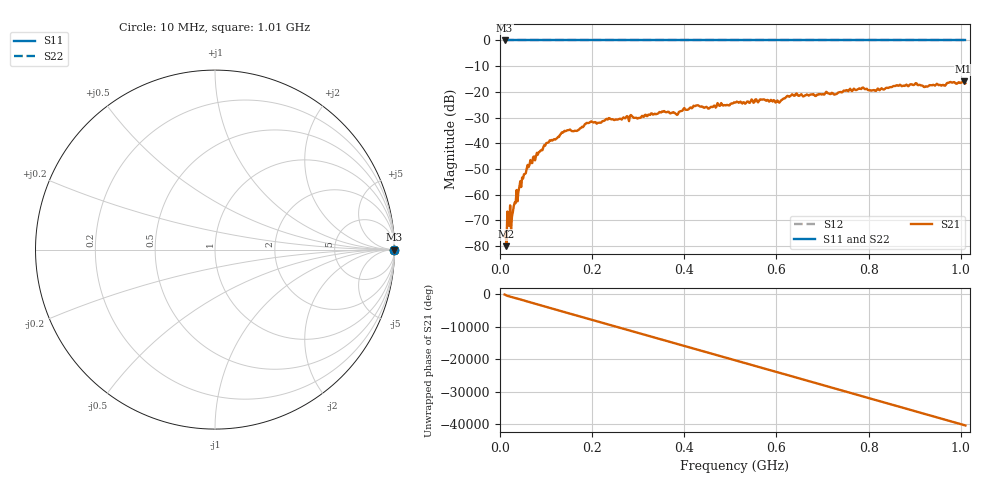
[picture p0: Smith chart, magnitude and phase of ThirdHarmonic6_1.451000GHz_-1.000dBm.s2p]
! 8/16/2025 4:49:45 PM
! C:\ANRITSUVNA\TEMP\TEMP.S2P
! CHANNEL.1
! TR.MEASUREMENT
! RAW.DATA
! RF.CORRECTION.OFF
! AVERAGING.OFF
! IF.BANDWIDTH: 5KHZ
! SWEEPTYPE:  FREQ.SWEEP(Linear)
! Reference Plane Port Info
! PORT:  PORT1  PORT2
! DISTANCE:  0  m  0  m
! TIME:  0  s  0  s
! PHASE.OFFSET:  0  deg.  0  deg.
! LOSS:  0  dB  0  dB
! REF.LOSS:  0  dB  0  dB
! REF.FREQ:  0  Hz  0  Hz
! Power Info
! POWER:  -20  dBm  -20  dBm
! EFF.POWER:  -20  dBm  -20  dBm
! SOURCE.ATTEN:  0  dB  0  dB
! TEST.ATTEN:  0  dB  0  dB
# GHZ S RI R 50.0
! FREQ.GHZ  S11RE  S11IM  S21RE  S21IM  S12RE  S12IM  S22RE  S22IM
!; PortSelection: Port_12
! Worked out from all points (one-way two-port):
!   501 points, 10 MHz to 1.01 GHz, reference 50 ohm
!   highest |S21| = -15.95 dB at 1.006 GHz (marker M1); lowest = -80.1 dB at 14 MHz (marker M2)
!   lowest |S11| = 0.0 dB at 10 MHz (marker M3)
!   |S11| at or under -10 dB: nowhere
!   |S22| runs from 0.0 to 0.0 dB; largest |S21 - S12| = 1.2
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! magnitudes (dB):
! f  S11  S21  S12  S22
! 10 MHz  0.0  -76.3  0.0  0.0
! 14 MHz  0.0  -80.1  0.0  0.0
! 20 MHz  0.0  -72.2  0.0  0.0
! 28 MHz  0.0  -66.7  0.0  0.0
! 32 MHz  0.0  -63.1  0.0  0.0
! 48 MHz  0.0  -53.3  0.0  0.0
! 70 MHz  0.0  -47.7  0.0  0.0
! 100 MHz  0.0  -40.1  0.0  0.0
! 136 MHz  0.0  -35.9  0.0  0.0
! 178 MHz  0.0  -33.6  0.0  0.0
! 234 MHz  0.0  -30.8  0.0  0.0
! 344 MHz  0.0  -28.3  0.0  0.0
! 384 MHz  0.0  -29.0  0.0  0.0
! 424 MHz  0.0  -25.5  0.0  0.0
! 454 MHz  0.0  -26.4  0.0  0.0
! 510 MHz  0.0  -24.1  0.0  0.0
! 602 MHz  0.0  -23.4  0.0  0.0
! 634 MHz  0.0  -20.9  0.0  0.0
! 678 MHz  0.0  -21.1  0.0  0.0
! 844 MHz  0.0  -18.4  0.0  0.0
! 1.006 GHz  0.0  -15.9  0.0  0.0
! 1.01 GHz  0.0  -16.7  0.0  0.0
